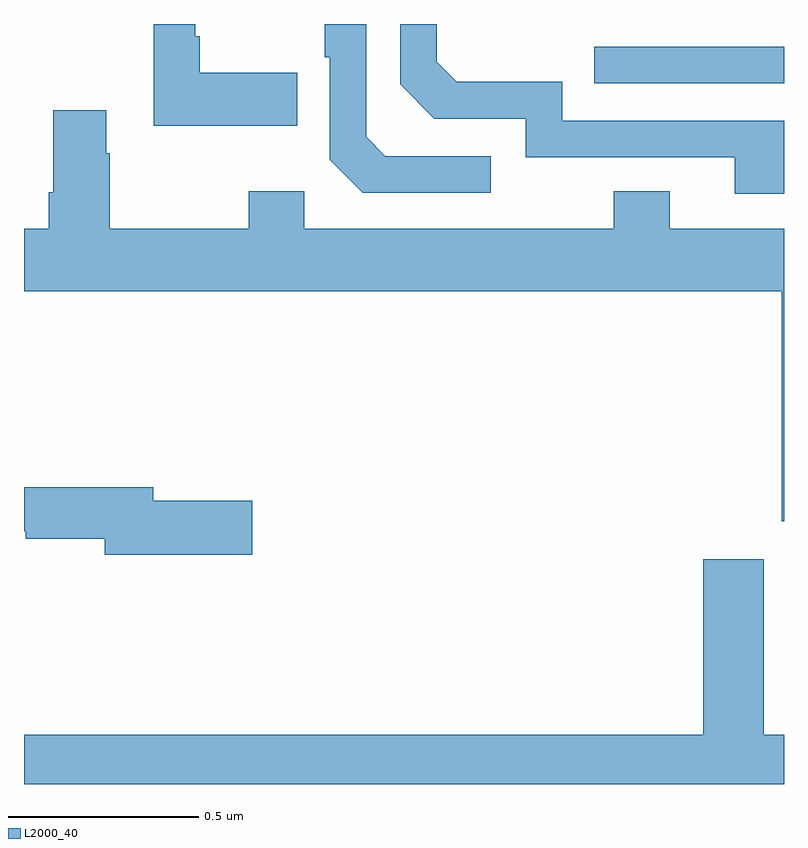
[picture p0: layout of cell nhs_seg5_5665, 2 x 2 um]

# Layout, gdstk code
import gdstk
lib = gdstk.Library(unit=1e-6, precision=1e-09)
def R(c, l, rs):  # rectangles x0, y0, x1, y1
    for r in rs: c.add(gdstk.rectangle(r[:2], r[2:], *l))
def P(c, l, *ps):  # polygons
    for p in ps: c.add(gdstk.Polygon(p, *l))
L2000_40 = (2000, 40)

nhs_seg5_5665 = lib.new_cell('nhs_seg5_5665')
R(nhs_seg5_5665, L2000_40, [(187.501,854.643,188,854.739)])
P(nhs_seg5_5665, L2000_40, [(187.228,854.451),(186.951,854.451),(186.9,854.502),(186.9,854.799),(186.792,854.799),(186.792,854.711),(186.804,854.711),(186.804,854.442),(186.891,854.355),(187.228,854.355)],
  [(188,854.544),(187.416,854.544),(187.416,854.647),(187.139,854.647),(187.086,854.7),(187.086,854.799),(186.99,854.799),(186.99,854.64),(187.08,854.55),(187.32,854.55),(187.32,854.448),(187.871,854.448),(187.871,854.352),(188,854.352)],
  [(186.719,854.671),(186.463,854.671),(186.463,854.767),(186.45,854.767),(186.45,854.799),(186.342,854.799),(186.342,854.531),(186.719,854.531)],
  [(188,854.26),(187.699,854.26),(187.699,854.359),(187.552,854.359),(187.552,854.26),(186.738,854.26),(186.738,854.359),(186.592,854.359),(186.592,854.26),(186.225,854.26),(186.225,854.459),(186.217,854.459),(186.217,854.572),(186.077,854.572),(186.077,854.356),(186.065,854.356),(186.065,854.26),(186,854.26),(186,854.096),(187.994,854.096),(187.994,853.49),(188,853.49)],
  [(186.601,853.544),(186.34,853.544),(186.34,853.58),(186,853.58),(186,853.464),(186.004,853.464),(186.004,853.444),(186.212,853.444),(186.212,853.402),(186.601,853.402)],
  [(188,852.928),(187.947,852.928),(187.947,853.39),(187.787,853.39),(187.787,852.928),(186,852.928),(186,852.799),(188,852.799)])

lib.write_gds('nhs_seg5_5665.gds')
